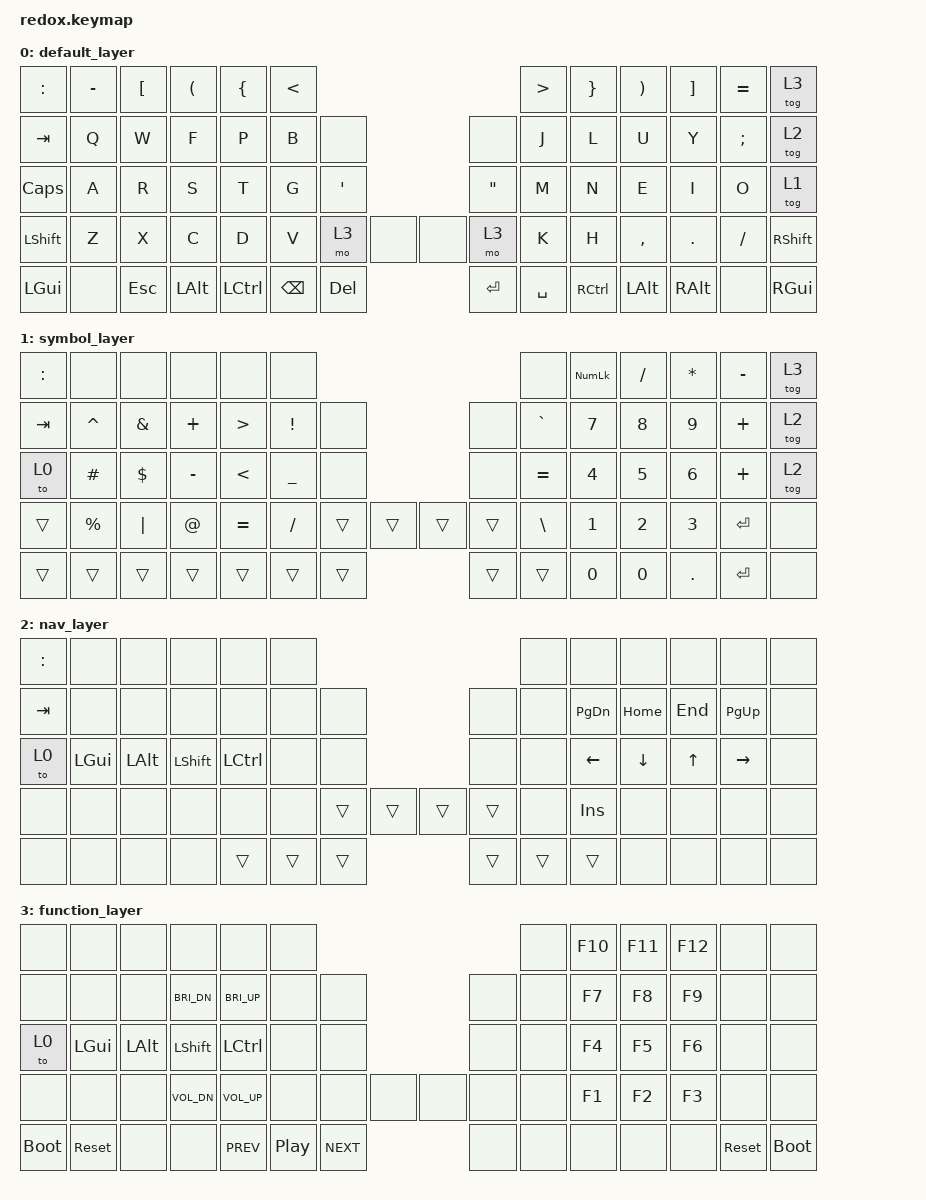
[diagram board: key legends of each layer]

/*
 * Copyright (c) 2020 The ZMK Contributors
 *
 * SPDX-License-Identifier: MIT
 */

#include <behaviors.dtsi>
#include <dt-bindings/zmk/keys.h>

/ {
    keymap {
        compatible = "zmk,keymap";


        default_layer {
            bindings = <
                &kp COLON   &kp MINUS   &kp LBKT    &kp LPAR    &kp LBRC    &kp LT                                                              &kp GT      &kp RBRC    &kp RPAR    &kp RBKT    &kp EQUAL   &tog 3
                &kp TAB     &kp Q       &kp W       &kp F       &kp P       &kp B   &none                                           &none       &kp J       &kp L       &kp U       &kp Y       &kp SEMI    &tog 2
                &kp CAPS    &kp A       &kp R       &kp S       &kp T       &kp G   &kp SQT                                         &kp DQT     &kp M       &kp N       &kp E       &kp I       &kp O       &tog 1
                &kp LSHFT   &kp Z       &kp X       &kp C       &kp D       &kp V       &mo 3       &none           &none       &mo 3           &kp K       &kp H       &kp COMMA   &kp DOT     &kp FSLH    &kp RSHFT
                &kp LGUI    &none       &kp ESC     &kp LALT        &kp LCTRL           &kp BSPC    &kp DEL         &kp ENTER   &kp SPACE           &kp RCTRL           &kp LALT    &kp RALT    &none       &kp RGUI
            >;
        };


        symbol_layer {
            bindings = <
                &kp COLON   &none           &none       &none       &none       &none                                                           &none       &kp KP_NUM  &kp SLASH   &kp STAR    &kp MINUS   &tog 3
                &kp TAB     &kp CARET       &kp AMPS    &kp PLUS    &kp GT      &kp EXCL    &none                                       &none   &kp GRAVE   &kp N7      &kp N8      &kp N9      &kp PLUS    &tog 2
                &to 0       &kp HASH        &kp DLLR    &kp MINUS   &kp LT      &kp UNDER   &none                                       &none   &kp EQUAL   &kp N4      &kp N5      &kp N6      &kp PLUS    &tog 2
                &trans      &kp PERCENT     &kp PIPE    &kp AT      &kp EQUAL   &kp FSLH        &trans  &trans              &trans  &trans      &kp BSLH    &kp N1      &kp N2      &kp N3      &kp ENTER   &none
                &trans      &trans          &trans      &trans          &trans                  &trans  &trans              &trans  &trans          &kp N0              &kp N0      &kp DOT     &kp ENTER   &none
            >;
        };


        nav_layer {
            bindings = <
                &kp COLON   &none       &none       &none       &none       &none                                                           &none       &none       &none       &none       &none           &none
                &kp TAB     &none       &none       &none       &none       &none       &none                                       &none   &none       &kp PG_DN   &kp HOME    &kp END     &kp PG_UP       &none
                &to 0       &kp LGUI    &kp LALT    &kp LSHFT   &kp LCTRL   &none       &none                                       &none   &none       &kp LEFT    &kp DOWN    &kp UP      &kp RIGHT       &none
                &none       &none       &none       &none       &none       &none           &trans  &trans              &trans  &trans      &none       &kp INS     &none       &none       &none           &none
                &none       &none       &none       &none           &trans                  &trans  &trans              &trans  &trans          &trans              &none       &none       &none           &none
            >;
        };


        function_layer {
            bindings = <
                &none       &none       &none       &none           &none           &none                                                               &none       &kp F10     &kp F11     &kp F12     &none       &none
                &none       &none       &none       &kp C_BRI_DN    &kp C_BRI_UP    &none       &none                                           &none   &none       &kp F7      &kp F8      &kp F9      &none       &none
                &to 0       &kp LGUI    &kp LALT    &kp LSHFT       &kp LCTRL       &none       &none                                           &none   &none       &kp F4      &kp F5      &kp F6      &none       &none
                &none       &none       &none       &kp C_VOL_DN    &kp C_VOL_UP    &none           &none       &none               &none   &none       &none       &kp F1      &kp F2      &kp F3      &none       &none
                &bootloader &sys_reset  &none       &none               &kp C_PREV                  &kp C_PP    &kp C_NEXT          &none   &none           &none               &none       &none       &sys_reset  &bootloader
            >;
        };
    };
};
